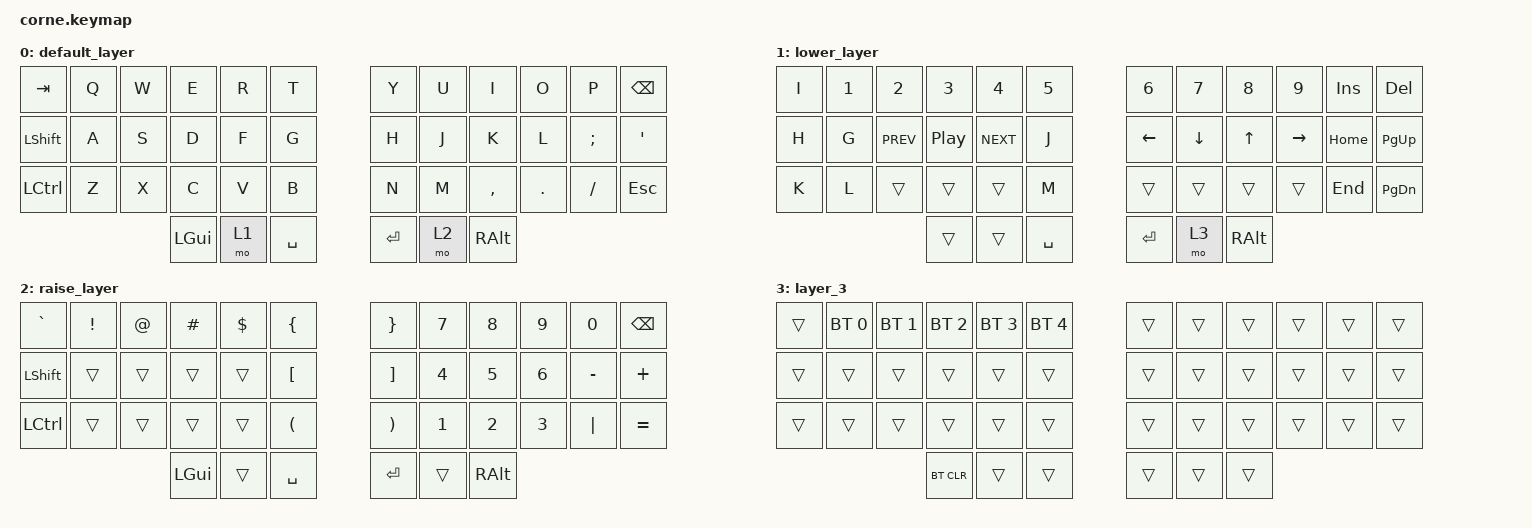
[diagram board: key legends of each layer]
/*
 * Copyright (c) 2020 The ZMK Contributors
 *
 * SPDX-License-Identifier: MIT
 */

#include <behaviors.dtsi>
#include <dt-bindings/zmk/bt.h>
#include <dt-bindings/zmk/keys.h>

/ {
    keymap {
        compatible = "zmk,keymap";

        default_layer {
            // -----------------------------------------------------------------------------------------
            // |  TAB |  Q  |  W  |  E  |  R  |  T  |   |  Y  |  U   |  I  |  O  |  P  | BKSP |
            // | CTRL |  A  |  S  |  D  |  F  |  G  |   |  H  |  J   |  K  |  L  |  ;  |  '   |
            // | SHFT |  Z  |  X  |  C  |  V  |  B  |   |  N  |  M   |  ,  |  .  |  /  | ESC  |
            //                    | GUI | LWR | SPC |   | ENT | RSE  | ALT |

            bindings = <
&kp TAB           &kp Q  &kp W  &kp E     &kp R  &kp T        &kp Y    &kp U  &kp I      &kp O    &kp P     &kp BSPC
&kp LEFT_SHIFT    &kp A  &kp S  &kp D     &kp F  &kp G        &kp H    &kp J  &kp K      &kp L    &kp SEMI  &kp SQT
&kp LEFT_CONTROL  &kp Z  &kp X  &kp C     &kp V  &kp B        &kp N    &kp M  &kp COMMA  &kp DOT  &kp FSLH  &kp ESC
                                &kp LGUI  &mo 1  &kp SPACE    &kp RET  &mo 2  &kp RALT
            >;
        };

        lower_layer {
            // -----------------------------------------------------------------------------------------
            // |  TAB |  1  |  2  |  3  |  4  |  5  |   |  6  |  7  |  8  |  9  |  0  | BKSP |
            // | BTCLR| BT1 | BT2 | BT3 | BT4 | BT5 |   | LFT | DWN |  UP | RGT |     |      |
            // | SHFT |     |     |     |     |     |   |     |     |     |     |     |      |
            //                    | GUI |     | SPC |   | ENT |     | ALT |

            bindings = <
&kp I  &kp N1  &kp N2      &kp N3            &kp N4      &kp N5       &kp N6    &kp N7    &kp N8    &kp N9     &kp INS   &kp DELETE
&kp H  &kp G   &kp C_PREV  &kp C_PLAY_PAUSE  &kp C_NEXT  &kp J        &kp LEFT  &kp DOWN  &kp UP    &kp RIGHT  &kp HOME  &kp PAGE_UP
&kp K  &kp L   &trans      &trans            &trans      &kp M        &trans    &trans    &trans    &trans     &kp END   &kp PAGE_DOWN
                           &trans            &trans      &kp SPACE    &kp RET   &mo 3     &kp RALT
            >;
        };

        raise_layer {
            // -----------------------------------------------------------------------------------------
            // |  TAB |  !  |  @  |  #  |  $  |  %  |   |  ^  |  &  |  *  |  (  |  )  | BKSP |
            // | CTRL |     |     |     |     |     |   |  -  |  =  |  [  |  ]  |  \  |  `   |
            // | SHFT |     |     |     |     |     |   |  _  |  +  |  {  |  }  | "|" |  ~   |
            //                    | GUI |     | SPC |   | ENT |     | ALT |

            bindings = <
&kp GRAVE         &kp EXCL  &kp AT  &kp HASH  &kp DLLR  &kp LEFT_BRACE          &kp RIGHT_BRACE        &kp N7  &kp N8    &kp N9  &kp N0     &kp BSPC
&kp LSHIFT        &trans    &trans  &trans    &trans    &kp LEFT_BRACKET        &kp RIGHT_BRACKET      &kp N4  &kp N5    &kp N6  &kp MINUS  &kp PLUS
&kp LEFT_CONTROL  &trans    &trans  &trans    &trans    &kp LEFT_PARENTHESIS    &kp RIGHT_PARENTHESIS  &kp N1  &kp N2    &kp N3  &kp PIPE   &kp EQUAL
                                    &kp LGUI  &trans    &kp SPACE               &kp RET                &trans  &kp RALT
            >;
        };

        layer_3 {
            bindings = <
&trans  &bt BT_SEL 0  &bt BT_SEL 1  &bt BT_SEL 2  &bt BT_SEL 3  &bt BT_SEL 4    &trans  &trans  &trans  &trans  &trans  &trans
&trans  &trans        &trans        &trans        &trans        &trans          &trans  &trans  &trans  &trans  &trans  &trans
&trans  &trans        &trans        &trans        &trans        &trans          &trans  &trans  &trans  &trans  &trans  &trans
                                    &bt BT_CLR    &trans        &trans          &trans  &trans  &trans
            >;
        };
    };
};
